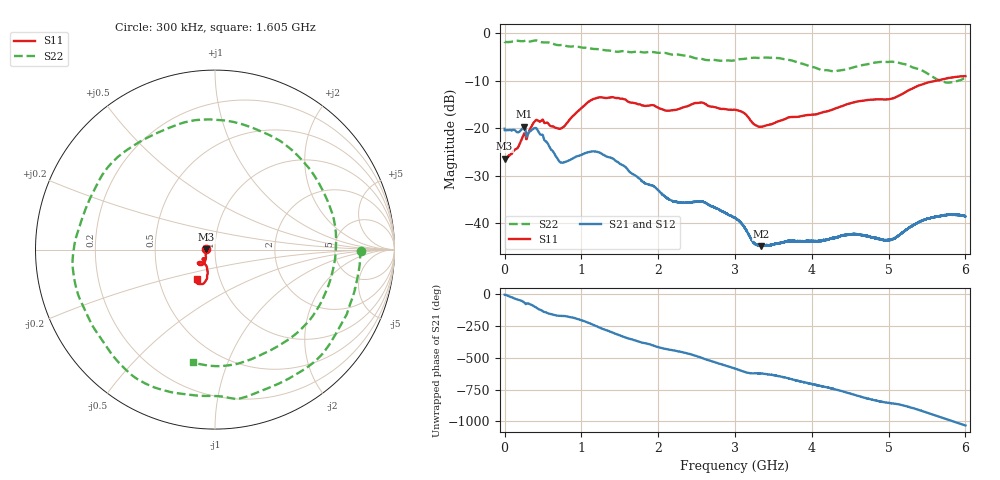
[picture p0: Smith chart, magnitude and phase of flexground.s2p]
!  8/6/2020  01:51:14
! Ref Plane: 0.000 mm
# MHZ S MA R  50
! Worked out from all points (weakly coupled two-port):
!   10001 points, 300 kHz to 6 GHz, reference 50 ohm
!   highest |S21| = -19.69 dB at 255.3 MHz (marker M1); lowest = -44.9 dB at 3.344 GHz (marker M2)
!   lowest |S11| = -26.4 dB at 300 kHz (marker M3), VSWR 1.10, Z = 45.4 + j0.107 ohm
!   |S11| at or under -10 dB: start of sweep to 5.613 GHz
!   |S22| runs from -10.4 to -1.5 dB; largest |S21 - S12| = 0.0023
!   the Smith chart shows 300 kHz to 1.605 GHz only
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0.3  0.04771 178.6  0.09887 -1.1  0.09662 -0.9  0.8158 -0.4
255.2873  0.08814 -137.6  0.1036 -62.8  0.1036 -62.9  0.8304 -73.8
596.0702  0.1057 -139.3  0.061 -153.8  0.06112 -153.8  0.7972 -174.6
813.8593  0.1137 -112.8  0.04483 -172.4  0.04491 -172.5  0.7321 124.8
1000.45  0.163 -105.6  0.05234 157.1  0.05241 157.0  0.7102 73.1
1253.637  0.2121 -115.5  0.05458 94.7  0.05463 94.6  0.6735 -0.6
1541.023  0.2042 -120.9  0.04069 29.5  0.04076 29.4  0.6493 -83.7
1782.211  0.1749 -117.7  0.02805 -17.6  0.02809 -17.8  0.6338 -150.3
2000.6  0.1639 -113.1  0.02219 -55.2  0.02217 -55.3  0.6234 151.1
2257.987  0.1586 -96.6  0.01667 -87.3  0.01666 -87.6  0.5977 82.5
2533.373  0.1853 -93.1  0.01683 -131.8  0.01685 -131.9  0.5426 5.4
2776.961  0.1634 -91.5  0.01415 178.8  0.01414 178.9  0.5177 -67.1
3000.15  0.1566 -86.0  0.01131 136.3  0.01136 136.7  0.5199 -133.3
3343.933  0.1033 -66.0  0.005714 97.6  0.005806 97.5  0.5516 135.9
3609.72  0.1215 -43.1  0.006196 70.9  0.006253 71.1  0.5403 70.8
4000.3  0.1385 -26.2  0.006416 14.4  0.006443 14.8  0.4432 -33.1
4220.489  0.1524 -13.7  0.006738 -15.0  0.006748 -14.8  0.4068 -101.8
4487.476  0.1818 -4.7  0.007538 -58.9  0.007586 -58.5  0.4255 174.6
4762.262  0.1996 -0.1  0.007136 -105.7  0.007169 -105.8  0.4787 101.9
5000.45  0.2019 9.1  0.006653 -134.0  0.006585 -133.7  0.4995 45.4
5494.225  0.3001 20.7  0.01104 150.3  0.01106 150.0  0.3831 -74.1
6000  0.3544 16.6  0.01177 47.9  0.01186 47.9  0.3435 115.5
